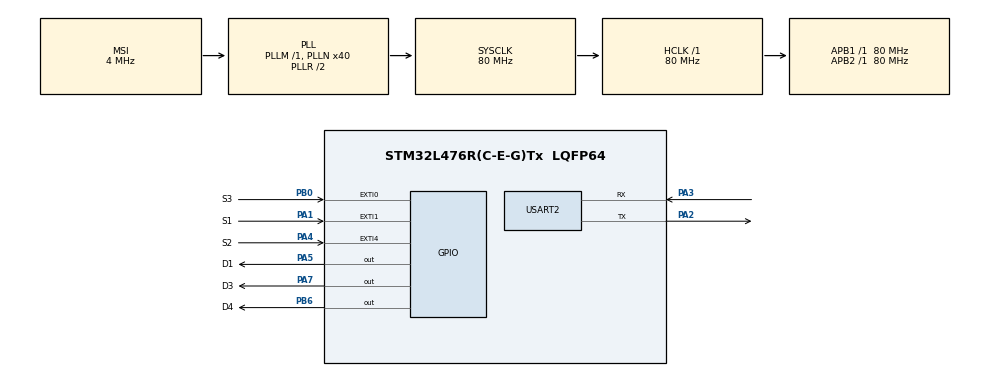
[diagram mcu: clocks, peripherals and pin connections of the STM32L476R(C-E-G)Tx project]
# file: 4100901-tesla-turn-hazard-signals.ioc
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Mcu.Family=STM32L4
Mcu.Name=STM32L476R(C-E-G)Tx
Mcu.Package=LQFP64
NVIC.EXTI0_IRQn=true\:0\:0\:false\:false\:true\:true\:true\:true
NVIC.EXTI1_IRQn=true\:0\:0\:false\:false\:true\:true\:true\:true
NVIC.EXTI4_IRQn=true\:0\:0\:false\:false\:true\:true\:true\:true
NVIC.PriorityGroup=NVIC_PRIORITYGROUP_4
PA1.GPIO_Label=S1
PA1.GPIO_ModeDefaultEXTI=GPIO_MODE_IT_FALLING
PA1.Signal=GPXTI1
PA2.Mode=Asynchronous
PA2.Signal=USART2_TX
PA3.Mode=Asynchronous
PA3.Signal=USART2_RX
PA4.GPIO_Label=S2
PA4.GPIO_ModeDefaultEXTI=GPIO_MODE_IT_FALLING
PA4.Signal=GPXTI4
PA5.GPIO_Label=D1
PA5.PinState=GPIO_PIN_SET
PA5.Signal=GPIO_Output
PA7.GPIO_Label=D3
PA7.PinState=GPIO_PIN_SET
PA7.Signal=GPIO_Output
PB0.GPIO_Label=S3
PB0.GPIO_ModeDefaultEXTI=GPIO_MODE_IT_FALLING
PB0.Signal=GPXTI0
PB6.GPIO_Label=D4
PB6.PinState=GPIO_PIN_SET
PB6.Signal=GPIO_Output
ProjectManager.HeapSize=0x200
ProjectManager.StackSize=0x400
ProjectManager.TargetToolchain=STM32CubeIDE
RCC.AHBFreq_Value=80000000
RCC.APB1Freq_Value=80000000
RCC.APB1TimFreq_Value=80000000
RCC.APB2Freq_Value=80000000
RCC.APB2TimFreq_Value=80000000
RCC.CortexFreq_Value=80000000
RCC.HCLKFreq_Value=80000000
RCC.HSE_VALUE=8000000
RCC.HSI_VALUE=16000000
RCC.LSE_VALUE=32768
RCC.MSI_VALUE=4000000
RCC.PLLN=40
RCC.SYSCLKFreq_VALUE=80000000
RCC.SYSCLKSource=RCC_SYSCLKSOURCE_PLLCLK
RCC.VCOOutputFreq_Value=160000000
USART2.VirtualMode-Asynchronous=VM_ASYNC
board=custom

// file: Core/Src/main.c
/* USER CODE BEGIN Header */
/**
  ******************************************************************************
  * @file           : main.c
  * @brief          : Main program body
  ******************************************************************************
  * @attention
  *
  * Copyright (c) 2024 STMicroelectronics.
  * All rights reserved.
  *
  * This software is licensed under terms that can be found in the LICENSE file
  * in the root directory of this software component.
  * If no LICENSE file comes with this software, it is provided AS-IS.
  *
  ******************************************************************************
  */
/* USER CODE END Header */
#include "main.h"

UART_HandleTypeDef huart2;

/* USER CODE BEGIN PV */
uint32_t left_toggles = 0;
uint32_t right_toggles = 0;
uint32_t left_last_press_tick = 0;
uint32_t right_last_press_tick = 0;
rebote = 0;
/* USER CODE END PV */

void SystemClock_Config(void);
static void MX_GPIO_Init(void);
static void MX_USART2_UART_Init(void);
//uint8_t Read_Button(BUTTON_GPIO_PORT, BUTTON_PIN);

/* USER CODE BEGIN 0 */

/*void wait_100(void)
{
	static wait_tick = 0;
	  if(wait_tick < HAL_GetTick()){
		  wait_tick = HAL_GetTick() + 100;
	  }
}*/

void HAL_GPIO_EXTI_Callback(uint16_t GPIO_Pin)
{

	  if (GPIO_Pin == S1_Pin){

			  right_toggles = 0;
			  HAL_UART_Transmit(&huart2, "S1\r\n", 4, 10);
			  if (HAL_GetTick() < (left_last_press_tick + 300)) { // if last press was in the last 300ms
						left_toggles = 0xFFFFFF; // a long time toggling (infinite)
					} else {
						left_toggles = 6; //3 blinks
					}
			  left_last_press_tick = HAL_GetTick();

	    } else if (GPIO_Pin == S2_Pin){

				  left_toggles = 0;
					  HAL_UART_Transmit(&huart2, "S2\r\n", 4, 10);
					  if (HAL_GetTick() < (right_last_press_tick + 300)) { // if last press was in the last 300ms
								right_toggles = 0xFFFFFF; // a long time toggling (infinite)
							} else {
								right_toggles = 6;	//3 blinks
							}
					  right_last_press_tick = HAL_GetTick();

	      } else if (GPIO_Pin == S3_Pin){

						if(left_toggles > 0 || right_toggles > 0){
							left_toggles = 0;  //si la direccional izquierda esta encendida se apaga
							right_toggles = 0; //si la direccional derecha esta encendida se apaga

						} else {
							left_toggles = 0xFFFFFF;
							right_toggles = 0xFFFFFF;
						}
						HAL_UART_Transmit(&huart2, "S3\r\n", 4, 10);

	      	  	  }

}

void heartbeat(void)
{
	static uint32_t heartbeat_tick = 0;
	if (heartbeat_tick < HAL_GetTick()){
		heartbeat_tick = HAL_GetTick() + 500;
		HAL_GPIO_TogglePin(D1_GPIO_Port, D1_Pin);
	}
}

uint8_t Read_Button(BUTTON_GPIO_PORT, BUTTON_PIN)
{
	uint32_t current_time = HAL_GetTick();

	if (current_time - rebote > 1000) {
	        if (HAL_GPIO_ReadPin(BUTTON_GPIO_PORT, BUTTON_PIN) == GPIO_PIN_RESET) {
	            rebote = current_time;
            return 1; // Se considera que el botón ha sido presionado después del debounce
        }
    }
    return 0; // El botón no ha sido presionado o es un rebote
}

void turn_signal_left(void)
{
	static uint32_t turn_toggle_tick = 0;
	if (turn_toggle_tick < HAL_GetTick()){
		if(left_toggles > 0){
			turn_toggle_tick = HAL_GetTick() + 500;
			HAL_GPIO_TogglePin(D3_GPIO_Port, D3_Pin);

			left_toggles--;
		} else{
			HAL_GPIO_WritePin(D3_GPIO_Port, D3_Pin, 1);
		}

	}
}

void turn_signal_right(void)
{
	static uint32_t turn_toggle_tick = 0;
	if (turn_toggle_tick < HAL_GetTick()){
		if(right_toggles > 0){
			turn_toggle_tick = HAL_GetTick() + 500;
			HAL_GPIO_TogglePin(D4_GPIO_Port, D4_Pin);
			right_toggles--;
		} else{
			HAL_GPIO_WritePin(D4_GPIO_Port, D4_Pin, 1);
		}

	}
}

/* USER CODE END 0 */

int main(void)
{

  /* MCU Configuration--------------------------------------------------------*/

  /* Reset of all peripherals, Initializes the Flash interface and the Systick. */
  HAL_Init();

  /* Configure the system clock */
  SystemClock_Config();

  /* Initialize all configured peripherals */
  MX_GPIO_Init();
  MX_USART2_UART_Init();

  /* Infinite loop */
  /* USER CODE BEGIN WHILE */
  while (1)
  {
	  heartbeat();
//	  turn_signal_left();
//	  turn_signal_right();
	  if(Read_Button(S1_GPIO_Port, S1_Pin) == 0){
		  turn_signal_left();
	  }
	  if(Read_Button(S2_GPIO_Port, S2_Pin) == 0){
	  turn_signal_right();
	  }
    /* USER CODE END WHILE */

  }
}

void SystemClock_Config(void)
{
  RCC_OscInitTypeDef RCC_OscInitStruct = {0};
  RCC_ClkInitTypeDef RCC_ClkInitStruct = {0};

  /** Configure the main internal regulator output voltage
  */
  if (HAL_PWREx_ControlVoltageScaling(PWR_REGULATOR_VOLTAGE_SCALE1) != HAL_OK)
  {
    Error_Handler();
  }

  /** Initializes the RCC Oscillators according to the specified parameters
  * in the RCC_OscInitTypeDef structure.
  */
  RCC_OscInitStruct.OscillatorType = RCC_OSCILLATORTYPE_MSI;
  RCC_OscInitStruct.MSIState = RCC_MSI_ON;
  RCC_OscInitStruct.MSICalibrationValue = 0;
  RCC_OscInitStruct.MSIClockRange = RCC_MSIRANGE_6;
  RCC_OscInitStruct.PLL.PLLState = RCC_PLL_ON;
  RCC_OscInitStruct.PLL.PLLSource = RCC_PLLSOURCE_MSI;
  RCC_OscInitStruct.PLL.PLLM = 1;
  RCC_OscInitStruct.PLL.PLLN = 40;
  RCC_OscInitStruct.PLL.PLLP = RCC_PLLP_DIV7;
  RCC_OscInitStruct.PLL.PLLQ = RCC_PLLQ_DIV2;
  RCC_OscInitStruct.PLL.PLLR = RCC_PLLR_DIV2;
  if (HAL_RCC_OscConfig(&RCC_OscInitStruct) != HAL_OK)
  {
    Error_Handler();
  }

  /** Initializes the CPU, AHB and APB buses clocks
  */
  RCC_ClkInitStruct.ClockType = RCC_CLOCKTYPE_HCLK|RCC_CLOCKTYPE_SYSCLK
                              |RCC_CLOCKTYPE_PCLK1|RCC_CLOCKTYPE_PCLK2;
  RCC_ClkInitStruct.SYSCLKSource = RCC_SYSCLKSOURCE_PLLCLK;
  RCC_ClkInitStruct.AHBCLKDivider = RCC_SYSCLK_DIV1;
  RCC_ClkInitStruct.APB1CLKDivider = RCC_HCLK_DIV1;
  RCC_ClkInitStruct.APB2CLKDivider = RCC_HCLK_DIV1;

  if (HAL_RCC_ClockConfig(&RCC_ClkInitStruct, FLASH_LATENCY_4) != HAL_OK)
  {
    Error_Handler();
  }
}

static void MX_USART2_UART_Init(void)
{

  huart2.Instance = USART2;
  huart2.Init.BaudRate = 115200;
  huart2.Init.WordLength = UART_WORDLENGTH_8B;
  huart2.Init.StopBits = UART_STOPBITS_1;
  huart2.Init.Parity = UART_PARITY_NONE;
  huart2.Init.Mode = UART_MODE_TX_RX;
  huart2.Init.HwFlowCtl = UART_HWCONTROL_NONE;
  huart2.Init.OverSampling = UART_OVERSAMPLING_16;
  huart2.Init.OneBitSampling = UART_ONE_BIT_SAMPLE_DISABLE;
  huart2.AdvancedInit.AdvFeatureInit = UART_ADVFEATURE_NO_INIT;
  if (HAL_UART_Init(&huart2) != HAL_OK)
  {
    Error_Handler();
  }

}

static void MX_GPIO_Init(void)
{
  GPIO_InitTypeDef GPIO_InitStruct = {0};

  /* GPIO Ports Clock Enable */
  __HAL_RCC_GPIOA_CLK_ENABLE();
  __HAL_RCC_GPIOB_CLK_ENABLE();

  /*Configure GPIO pin Output Level */
  HAL_GPIO_WritePin(GPIOA, D1_Pin|D3_Pin, GPIO_PIN_SET);

  /*Configure GPIO pin Output Level */
  HAL_GPIO_WritePin(D4_GPIO_Port, D4_Pin, GPIO_PIN_SET);

  /*Configure GPIO pins : S1_Pin S2_Pin */
  GPIO_InitStruct.Pin = S1_Pin|S2_Pin;
  GPIO_InitStruct.Mode = GPIO_MODE_IT_FALLING;
  GPIO_InitStruct.Pull = GPIO_NOPULL;
  HAL_GPIO_Init(GPIOA, &GPIO_InitStruct);

  /*Configure GPIO pins : D1_Pin D3_Pin */
  GPIO_InitStruct.Pin = D1_Pin|D3_Pin;
  GPIO_InitStruct.Mode = GPIO_MODE_OUTPUT_PP;
  GPIO_InitStruct.Pull = GPIO_NOPULL;
  GPIO_InitStruct.Speed = GPIO_SPEED_FREQ_LOW;
  HAL_GPIO_Init(GPIOA, &GPIO_InitStruct);

  /*Configure GPIO pin : S3_Pin */
  GPIO_InitStruct.Pin = S3_Pin;
  GPIO_InitStruct.Mode = GPIO_MODE_IT_FALLING;
  GPIO_InitStruct.Pull = GPIO_NOPULL;
  HAL_GPIO_Init(S3_GPIO_Port, &GPIO_InitStruct);

  /*Configure GPIO pin : D4_Pin */
  GPIO_InitStruct.Pin = D4_Pin;
  GPIO_InitStruct.Mode = GPIO_MODE_OUTPUT_PP;
  GPIO_InitStruct.Pull = GPIO_NOPULL;
  GPIO_InitStruct.Speed = GPIO_SPEED_FREQ_LOW;
  HAL_GPIO_Init(D4_GPIO_Port, &GPIO_InitStruct);

  /* EXTI interrupt init*/
  HAL_NVIC_SetPriority(EXTI0_IRQn, 0, 0);
  HAL_NVIC_EnableIRQ(EXTI0_IRQn);

  HAL_NVIC_SetPriority(EXTI1_IRQn, 0, 0);
  HAL_NVIC_EnableIRQ(EXTI1_IRQn);

  HAL_NVIC_SetPriority(EXTI4_IRQn, 0, 0);
  HAL_NVIC_EnableIRQ(EXTI4_IRQn);

}

void Error_Handler(void)
{
  __disable_irq();
  while (1)
  {
  }
}
